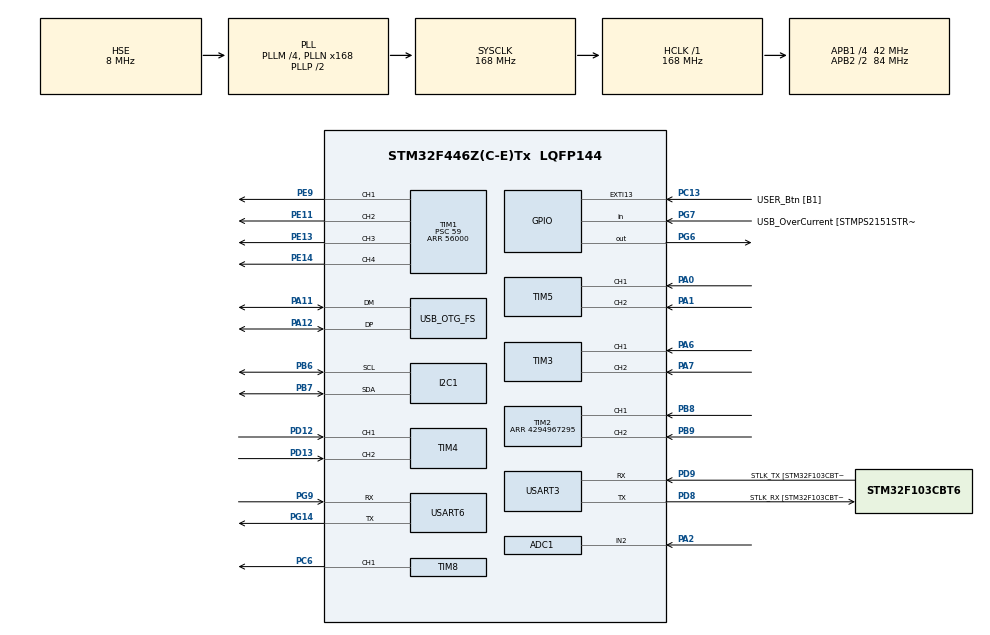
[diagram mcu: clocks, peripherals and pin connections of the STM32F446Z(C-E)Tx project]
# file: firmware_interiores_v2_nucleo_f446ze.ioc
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ADC1.Channel-5\#ChannelRegularConversion=ADC_CHANNEL_2
ADC1.NbrOfConversionFlag=1
ADC1.Rank-5\#ChannelRegularConversion=1
ADC1.SamplingTime-5\#ChannelRegularConversion=ADC_SAMPLETIME_3CYCLES
ADC1.master=1
Mcu.Family=STM32F4
Mcu.Name=STM32F446Z(C-E)Tx
Mcu.Package=LQFP144
NVIC.OTG_FS_IRQn=true\:0\:0\:false\:false\:true\:true\:true\:true
NVIC.PriorityGroup=NVIC_PRIORITYGROUP_4
NVIC.TIM2_IRQn=true\:0\:0\:false\:false\:true\:true\:true\:true
NVIC.TIM3_IRQn=true\:0\:0\:false\:false\:true\:true\:true\:true
NVIC.TIM4_IRQn=true\:0\:0\:false\:false\:true\:true\:true\:true
NVIC.TIM5_IRQn=true\:0\:0\:false\:false\:true\:true\:true\:true
NVIC.USART6_IRQn=true\:0\:0\:false\:false\:true\:true\:true\:true
PA0-WKUP.Signal=S_TIM5_CH1
PA1.Signal=S_TIM5_CH2
PA10.GPIO_Label=USB_ID
PA10.Signal=USB_OTG_FS_ID
PA11.Mode=Device_Only
PA11.Signal=USB_OTG_FS_DM
PA12.Mode=Device_Only
PA12.Signal=USB_OTG_FS_DP
PA13.GPIO_Label=TMS
PA13.Mode=Serial_Wire
PA13.Signal=SYS_JTMS-SWDIO
PA14.GPIO_Label=TCK
PA14.Mode=Serial_Wire
PA14.Signal=SYS_JTCK-SWCLK
PA2.Signal=ADCx_IN2
PA6.Signal=S_TIM3_CH1
PA7.Signal=S_TIM3_CH2
PA8.GPIO_Label=USB_SOF [TP1]
PA8.Signal=USB_OTG_FS_SOF
PA9.GPIO_Label=USB_VBUS
PA9.Signal=USB_OTG_FS_VBUS
PB0.Signal=S_TIM3_CH3
PB6.Mode=I2C
PB6.Signal=I2C1_SCL
PB7.Mode=I2C
PB7.Signal=I2C1_SDA
PB8.Signal=S_TIM2_CH1_ETR
PB9.Signal=S_TIM2_CH2
PC13.GPIO_Label=USER_Btn [B1]
PC13.Signal=GPXTI13
PC14-OSC32_IN.Signal=RCC_OSC32_IN
PC15-OSC32_OUT.Signal=RCC_OSC32_OUT
PC6.Signal=S_TIM8_CH1
PD12.Signal=S_TIM4_CH1
PD13.Signal=S_TIM4_CH2
PD8.GPIO_Label=STLK_RX [STM32F103CBT6_PA3]
PD8.Mode=Asynchronous
PD8.Signal=USART3_TX
PD9.GPIO_Label=STLK_TX [STM32F103CBT6_PA2]
PD9.Mode=Asynchronous
PD9.Signal=USART3_RX
PE11.Signal=S_TIM1_CH2
PE13.Signal=S_TIM1_CH3
PE14.Signal=S_TIM1_CH4
PE9.Signal=S_TIM1_CH1
PG14.Mode=Asynchronous
PG14.Signal=USART6_TX
PG6.Signal=GPIO_Output
PG7.GPIO_Label=USB_OverCurrent [STMPS2151STR_FAULT]
PG7.Signal=GPIO_Input
PG9.Mode=Asynchronous
PG9.Signal=USART6_RX
PH0-OSC_IN.Mode=HSE-External-Clock-Source
PH0-OSC_IN.Signal=RCC_OSC_IN
PH1-OSC_OUT.Mode=HSE-External-Clock-Source
PH1-OSC_OUT.Signal=RCC_OSC_OUT
ProjectManager.HeapSize=0x200
ProjectManager.StackSize=0x400
ProjectManager.TargetToolchain=STM32CubeIDE
RCC.48MHZClocksFreq_Value=24000000
RCC.AHBFreq_Value=168000000
RCC.APB1CLKDivider=RCC_HCLK_DIV4
RCC.APB1Freq_Value=42000000
RCC.APB1TimFreq_Value=84000000
RCC.APB2CLKDivider=RCC_HCLK_DIV2
RCC.APB2Freq_Value=84000000
RCC.APB2TimFreq_Value=168000000
RCC.CortexFreq_Value=168000000
RCC.HCLKFreq_Value=168000000
RCC.HSE_VALUE=8000000
RCC.HSI_VALUE=16000000
RCC.PLLM=4
RCC.PLLMUL=RCC_PLL_MUL9
RCC.PLLN=168
RCC.PLLQ=7
RCC.PLLSourceVirtual=RCC_PLLSOURCE_HSE
RCC.PRESCALERUSB=RCC_USBCLKSOURCE_PLL_DIV1_5
RCC.SYSCLKFreq_VALUE=168000000
RCC.SYSCLKSource=RCC_SYSCLKSOURCE_PLLCLK
RCC.SYSCLKSourceVirtual=RCC_SYSCLKSOURCE_PLLCLK
RCC.USBFreq_Value=48000000
RCC.VCOOutputFreq_Value=336000000
SH.ADCx_IN2.0=ADC1_IN2,IN2
SH.S_TIM1_CH1.0=TIM1_CH1,PWM Generation1 CH1
SH.S_TIM1_CH2.0=TIM1_CH2,PWM Generation2 CH2
SH.S_TIM1_CH3.0=TIM1_CH3,PWM Generation3 CH3
SH.S_TIM1_CH4.0=TIM1_CH4,PWM Generation4 CH4
SH.S_TIM2_CH1_ETR.0=TIM2_CH1,Encoder_Interface
SH.S_TIM2_CH2.0=TIM2_CH2,Encoder_Interface
SH.S_TIM3_CH1.0=TIM3_CH1,Encoder_Interface
SH.S_TIM3_CH2.0=TIM3_CH2,Encoder_Interface
SH.S_TIM3_CH3.0=TIM3_CH3
SH.S_TIM4_CH1.0=TIM4_CH1,Encoder_Interface
SH.S_TIM4_CH2.0=TIM4_CH2,Encoder_Interface
SH.S_TIM5_CH1.0=TIM5_CH1,Encoder_Interface
SH.S_TIM5_CH2.0=TIM5_CH2,Encoder_Interface
SH.S_TIM8_CH1.0=TIM8_CH1,PWM Generation1 CH1
TIM1.Channel-PWM\ Generation1\ CH1=TIM_CHANNEL_1
TIM1.Channel-PWM\ Generation2\ CH2=TIM_CHANNEL_2
TIM1.Channel-PWM\ Generation3\ CH3=TIM_CHANNEL_3
TIM1.Channel-PWM\ Generation4\ CH4=TIM_CHANNEL_4
TIM1.Period=56000
TIM1.Prescaler=59
TIM1.Pulse-PWM\ Generation2\ CH2=0
TIM1.Pulse-PWM\ Generation3\ CH3=0
TIM2.EncoderMode=TIM_ENCODERMODE_TI12
TIM2.Period=4294967295
TIM3.EncoderMode=TIM_ENCODERMODE_TI12
TIM3.IC1Polarity=TIM_ICPOLARITY_RISING
TIM3.IC2Polarity=TIM_ICPOLARITY_RISING
TIM4.EncoderMode=TIM_ENCODERMODE_TI12
TIM5.EncoderMode=TIM_ENCODERMODE_TI12
TIM8.Channel-PWM\ Generation1\ CH1=TIM_CHANNEL_1
USART3.VirtualMode=VM_ASYNC
USART6.VirtualMode=VM_ASYNC
USB_DEVICE.CLASS_NAME_FS=CDC
USB_DEVICE.PRODUCT_STRING_CDC_FS=STM32 Virtual DiegoPort
USB_DEVICE.VID-CDC_FS=1155
USB_DEVICE.VirtualMode-CDC_FS=Cdc
USB_DEVICE.VirtualModeFS=Cdc_FS
USB_OTG_FS.VirtualMode=Device_Only
VP_TIM1_VS_ClockSourceINT.Mode=Internal
VP_TIM8_VS_ClockSourceINT.Mode=Internal
VP_USB_DEVICE_VS_USB_DEVICE_CDC_FS.Mode=CDC_FS
board=NUCLEO-F446ZE

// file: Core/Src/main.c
/* USER CODE BEGIN Header */
/**
  ******************************************************************************
  * @file           : main.c
  * @brief          : Main program body
  ******************************************************************************
  * @attention
  *
  * Copyright (c) 2022 STMicroelectronics.
  * All rights reserved.
  *
  * This software is licensed under terms that can be found in the LICENSE file
  * in the root directory of this software component.
  * If no LICENSE file comes with this software, it is provided AS-IS.
  *
  ******************************************************************************
  */
/* USER CODE END Header */
#include "main.h"
#include "usb_device.h"

/* USER CODE BEGIN Includes */
#include "usbd_cdc_if.h"
#include "string.h"
#include "math.h"
#include "stdlib.h"
#include "MPU9250.h"

/* USER CODE END Includes */

 ADC_HandleTypeDef hadc1;

I2C_HandleTypeDef hi2c1;

TIM_HandleTypeDef htim1;
TIM_HandleTypeDef htim2;
TIM_HandleTypeDef htim3;
TIM_HandleTypeDef htim4;
TIM_HandleTypeDef htim5;
TIM_HandleTypeDef htim8;

UART_HandleTypeDef huart3;
UART_HandleTypeDef huart6;

/* USER CODE BEGIN PV */
int cmd_pulse=4256;
int forw=1;
uint16_t raw;
int skip=200;
int cmd=0;
int cmd_command=0;
int forw_rot=0;
int back_rot=0;
int stop_rot=0;

char *data="x5.12345123451234512345,y1.12345123451234512345,v1.12345123451234512345,w1.12345123451234512345";
float x1=5.12345;
float x2=3.46789;
float f = 2.45;
char a[sizeof(float)];

char *s;
float info[3]; // floats with info
uint8_t data1[12];
uint8_t *array;
char out_s[2];
char sz1[64] = {' '} ;
char szaux[64];
char fill_res[20];
int count_tim1=0;

char mp[20];

char volt_array[16];
float Vadc = 0;

uint8_t buffer_txt[80];
uint8_t buffer[64];

uint8_t bufferaux_v[64];
uint8_t bufferaux_w[64];
float v_in=0;
float w_in=0;
char test1;
int intposv=0;
int intposw=0;
//char *data="HolaDiego";

//Motor encoder----------------------------
//float enc_res=979.0;
float enc_res=1632.0;
float sampling_time=20.0; //20ms
float tyre_deflection=1.0;

//int16_t enc_FR=0;
//int16_t enc_FL=0;
//int16_t enc_RL=0;
//int16_t enc_RR=0;

int16_t counter_M1=0;
int16_t counter_M2=0;
int16_t counter_M3=0;
int16_t counter_M4=0;

int16_t M1=0;
int16_t M2=0;
int16_t M3=0;
int16_t M4=0;

//------------------------------------

//setSpeed fun-------------------------
float lin=0;
float ang=0;
float L_wheel_lin_speed=0;
float R_wheel_lin_speed=0;
float L_wheel_angular_velocity=0;
float R_wheel_angular_velocity=0;
float L_enc_speed=0;
float R_enc_speed=0;

float rot_radio=0;
float new_L_enc_speed=0;
float new_R_enc_speed=0;
//------------------------------------

//updateOdometry fun-------------------------
float wheel_L_ang_vel=0;
float wheel_R_ang_vel=0;
float wheel_L_ang_pos=0;
float wheel_R_ang_pos=0;

float wheel_FL_ang_pos =0;
float wheel_FR_ang_pos =0;
float wheel_RL_ang_pos =0;
float wheel_RR_ang_pos =0;

float enc_L=0;
float enc_R=0;

float wheel_radius=0.05; //50 millimeters
float robot_width=0.21; //distance between robot left and right wheels, 21 centimeters
float diameter_mod=1.0; //DIAMETER_MODIFICATOR

float robot_angular_vel=0;
float robot_angular_pos=0;
float robot_x_vel=0;
float robot_y_vel=0;
float robot_x_pos=0;
float robot_y_pos=0;
//------------------------------------------

//setPower fun----------------------------------
float max_speed = 7996.8; //max pulses per second
float min_speed = -7996.8;//min pulses per second
float min_pwm = 2767;//2800;//3136.0;
float max_pwm = 5533;//5600;//5376.0;
float M1_pwm = 0;
float M2_pwm = 0;
float M3_pwm = 0;
float M4_pwm = 0;
//------------------------------------------

unsigned char *pFloat;
unsigned char* rx_ptr, * tx_ptr; //Punteros auxiliares UART
unsigned char tx_buf[20], rx_buf[12]; //Buffers UART
float v_in, w_in, cam_in; //Valores deseados entrantes
float px_cur, py_cur, v_cur, w_cur, cam_cur; //Valores actuales salientes

#define ACC_FULL_SCALE_2_G       0x00
#define ACC_FULL_SCALE_4_G       0x08
#define ACC_FULL_SCALE_8_G       0x10
#define ACC_FULL_SCALE_16_G      0x18
float acc_x,acc_y,acc_z;

#define GYRO_FULL_SCALE_250_DPS  0x00
#define GYRO_FULL_SCALE_500_DPS  0x08
#define GYRO_FULL_SCALE_1000_DPS 0x10
#define GYRO_FULL_SCALE_2000_DPS 0x18
float gyro_x,gyro_y,gyro_z;

#define MAG_MODE_POWERDOWN        0x0
#define MAG_MODE_SINGLE           0x1
#define MAG_MODE_CONTINUOUS_8HZ   0x2
#define MAG_MODE_EXTERNAL         0x4
#define MAG_MODE_CONTINUOUS_100HZ 0x6
#define MAG_MODE_SELFTEST         0x8
#define MAG_MODE_FUSEROM          0xF
#define AK8963_ADDRESS  0x0C
#define AK8963_RA_HXL   0x03
#define AK8963_RA_CNTL1 0x0A
#define AK8963_RA_ASAX  0x10
float mag_x,mag_y,mag_z,magHoriz;

/* USER CODE END PV */

void SystemClock_Config(void);
static void MX_GPIO_Init(void);
static void MX_USART3_UART_Init(void);
static void MX_TIM2_Init(void);
static void MX_TIM3_Init(void);
static void MX_TIM4_Init(void);
static void MX_TIM5_Init(void);
static void MX_USART6_UART_Init(void);
static void MX_ADC1_Init(void);
static void MX_TIM1_Init(void);
static void MX_I2C1_Init(void);
static void MX_TIM8_Init(void);

/* USER CODE BEGIN 0 */
/*char readBuf[1];
void HAL_UART_RxCpltCallback(UART_HandleTypeDef *UartHandle) {
  Se recibe el caracter y se pide el siguiente
 HAL_UART_Receive_IT(&huart6, (uint8_t*)readBuf, 1);
}*/

void HAL_TIM_IC_CaptureCallback(TIM_HandleTypeDef *htim){
	if(htim->Instance==TIM2){
			//count_tim1+=1;
			counter_M1=(int16_t)__HAL_TIM_GET_COUNTER(htim);//Encoder M1

		}
	if(htim->Instance==TIM3){
			counter_M2=(int16_t)__HAL_TIM_GET_COUNTER(htim);//Encoder M2
		}
	if(htim->Instance==TIM4){
			counter_M3=(int16_t)__HAL_TIM_GET_COUNTER(htim);//Encoder M3
		}
	if(htim->Instance==TIM5){
			counter_M4=(int16_t)__HAL_TIM_GET_COUNTER(htim);//Encoder M4
		}

}

/* USER CODE END 0 */

int main(void)
{

  /* MCU Configuration--------------------------------------------------------*/

  /* Reset of all peripherals, Initializes the Flash interface and the Systick. */
  HAL_Init();

  /* Configure the system clock */
  SystemClock_Config();

  /* Initialize all configured peripherals */
  MX_GPIO_Init();
  MX_USART3_UART_Init();
  MX_TIM2_Init();
  MX_TIM3_Init();
  MX_TIM4_Init();
  MX_TIM5_Init();
  MX_USART6_UART_Init();
  MX_ADC1_Init();
  MX_USB_DEVICE_Init();
  MX_TIM1_Init();
  MX_I2C1_Init();
  MX_TIM8_Init();
  /* USER CODE BEGIN 2 */
  HAL_TIM_PWM_Start(&htim1, TIM_CHANNEL_1);
  HAL_TIM_PWM_Start(&htim1, TIM_CHANNEL_2);
  HAL_TIM_PWM_Start(&htim1, TIM_CHANNEL_3);
  HAL_TIM_PWM_Start(&htim1, TIM_CHANNEL_4);
  HAL_TIM_Encoder_Start_IT(&htim2, TIM_CHANNEL_ALL);
  HAL_TIM_Encoder_Start_IT(&htim3, TIM_CHANNEL_ALL);
  HAL_TIM_Encoder_Start_IT(&htim4, TIM_CHANNEL_ALL);
  HAL_TIM_Encoder_Start_IT(&htim5, TIM_CHANNEL_ALL);

  MPU9250_beginAccel(ACC_FULL_SCALE_16_G);

  MPU9250_beginGyro(GYRO_FULL_SCALE_2000_DPS);

  MPU9250_beginMag(MAG_MODE_CONTINUOUS_100HZ);

  //HAL_ADCEx_InjectedStart(&hadc1);
  /* USER CODE END 2 */

  /* Infinite loop */
  /* USER CODE BEGIN WHILE */
  //HAL_UART_Receive_IT(&huart6, (uint8_t*)readBuf, 1);

  while (1)
  {

    /* USER CODE END WHILE */

    /* USER CODE BEGIN 3 */

	  //counter=__HAL_TIM_GET_COUNTER(&htim2);
	  //counter_M1=__HAL_TIM_GET_COUNTER(&htim2);
	  //counter_M2=__HAL_TIM_GET_COUNTER(&htim2);
	  //counter_M3=__HAL_TIM_GET_COUNTER(&htim2);
	  //counter_M4=__HAL_TIM_GET_COUNTER(&htim2);

	  //counter_M1=(int16_t)__HAL_TIM_GET_COUNTER(&htim2);
	  //counter_M2=(int16_t)__HAL_TIM_GET_COUNTER(&htim3);
	  //counter_M3=(int16_t)__HAL_TIM_GET_COUNTER(&htim4);
	  //counter_M4=(int16_t)__HAL_TIM_GET_COUNTER(&htim5);

	  /*for(int i=0;i<sizeof(buffer);i++)
	  	  	  {
	  		  	  buffer[0]=(int)'v';
	  		  	  buffer[1]=(int)'1';
	  		  	  buffer[2]=(int)'.';
	  		  	  buffer[3]=(int)'2';
	  		  	  buffer[4]=(int)'w';
	  		  	  buffer[5]=(int)'4';

	  		  	  test1=buffer[i];
	  		  	  if(strcmp(&test1,"v")==0) intposv=i;
	  	  		  if(strcmp(&test1, "w")==0) intposw=i;
	  	  	  }

	  memcpy(&bufferaux,&buffer[intposv+1],intposw-intposv-1); v_in=(float)atof(bufferaux);
	  memcpy(&bufferaux,&buffer[intposw+1],sizeof(buffer)); w_in=(float)atof(bufferaux);*/

	  //*buffertest=(uint8_t)x1;

	  info[0]=1.14;
	  info[1]=2.14;
	  info[2]=3.14;

	  //memcpy(a, &f, sizeof(float));
	  //s = (char *) &f;

	  //memcpy(data1,&info,sizeof(info));

	  //out_s=(char)x1;

	  //sprintf(buffertest, &x1);

	  //float px=1.1413121212121212;
	  //float py=2.6414121212121212;
	  //float th=3.1415121212121212;
	  //float vx=4.5416121212121212;
	  //float vy=5.8417121212121212;
	  //float wz=6.2418121212121212;
	  //int txt_resolution=5;
	  //strcpy(buffer_txt,build_buffer(px, py, th, vx, vy, wz,txt_resolution));

	  //strcat(buffer_txt,"y");
	  //strcat(buffer_txt,sz);

	  /*px_cur=3.1415;
	  py_cur=2.18;
	  v_cur=7.10;
	  w_cur=1.54;
	  cam_cur=3.17;

	  tx_ptr = (unsigned char*)&px_cur; //Posicion x (actual)
	  for (int i = 0; i < 4; i++) tx_buf[i] = *(tx_ptr + i);
	  tx_ptr = (unsigned char*)&py_cur; //Posicion y (actual)
	  for (int i = 4; i < 8; i++) tx_buf[i] = *(tx_ptr + i);
	  tx_ptr = (unsigned char*)&v_cur; //Velocidad x (actual)
	  for (int i = 8; i < 12; i++) tx_buf[i] = *(tx_ptr + i);
	  tx_ptr = (unsigned char*)&w_cur; //Rotacion z (actual)
	  for (int i = 12; i < 16; i++) tx_buf[i] = *(tx_ptr + i);
	  tx_ptr = (unsigned char*)&cam_cur; //Angulo camara (actual)
	  for (int i = 16; i < 20; i++) tx_buf[i] = *(tx_ptr + i);
	  CDC_Transmit_FS((uint8_t *)tx_buf, sizeof(tx_buf));*/

	  //ftoa(n, res, 4);
	  //sprintf(n)

	  //strcpy(szaux,float_to_char(0.000015, 5));

	  //__HAL_TIM_SET_COMPARE(&htim1, TIM_CHANNEL_1, 4200);
	  //__HAL_TIM_SET_COMPARE(&htim1, TIM_CHANNEL_2, 4200);
	  //__HAL_TIM_SET_COMPARE(&htim1, TIM_CHANNEL_3, 4200);
	  //__HAL_TIM_SET_COMPARE(&htim1, TIM_CHANNEL_4, 4200);

	  //count_tim1=__HAL_TIM_GET_COUNTER(&htim1);

	  //setPower(4800, 4800, 4800, 4800);
	  //HAL_Delay(10);

	  //M1=(int16_t)__HAL_TIM_GET_COUNTER(&htim2);//Encoder M1
	  //M2=(int16_t)__HAL_TIM_GET_COUNTER(&htim3);//Encoder M2
	  //M3=(int16_t)__HAL_TIM_GET_COUNTER(&htim4);//Encoder M3
	  //M4=(int16_t)__HAL_TIM_GET_COUNTER(&htim5);//Encoder M4

	  MPU9250_accelUpdate();
	  MPU9250_gyroUpdate();
	  MPU9250_magUpdate();

	  acc_x=MPU9250_accelX();
	  acc_y=MPU9250_accelY();
	  acc_z=MPU9250_accelZ();

	  gyro_x=MPU9250_gyroX();
	  gyro_y=MPU9250_gyroY();
	  gyro_z=MPU9250_gyroZ();

	  mag_x=MPU9250_magX();
	  mag_y=MPU9250_magY();
	  mag_z=MPU9250_magZ();
	  magHoriz=MPU9250_magHorizDirection();

	  //CDC_Transmit_FS((uint8_t *) data, strlen (data));
	  //HAL_Delay(10);

  	  //__HAL_TIM_SET_COMPARE(&htim1, TIM_CHANNEL_1, cmd_pulse);
  	  //__HAL_TIM_SET_COMPARE(&htim1, TIM_CHANNEL_2, cmd_pulse);
  	  //__HAL_TIM_SET_COMPARE(&htim1, TIM_CHANNEL_3, cmd_pulse);
  	  //__HAL_TIM_SET_COMPARE(&htim1, TIM_CHANNEL_4, cmd_pulse);
  }
  /* USER CODE END 3 */
}

void SystemClock_Config(void)
{
  RCC_OscInitTypeDef RCC_OscInitStruct = {0};
  RCC_ClkInitTypeDef RCC_ClkInitStruct = {0};

  /** Configure the main internal regulator output voltage
  */
  __HAL_RCC_PWR_CLK_ENABLE();
  __HAL_PWR_VOLTAGESCALING_CONFIG(PWR_REGULATOR_VOLTAGE_SCALE1);

  /** Initializes the RCC Oscillators according to the specified parameters
  * in the RCC_OscInitTypeDef structure.
  */
  RCC_OscInitStruct.OscillatorType = RCC_OSCILLATORTYPE_HSE;
  RCC_OscInitStruct.HSEState = RCC_HSE_BYPASS;
  RCC_OscInitStruct.PLL.PLLState = RCC_PLL_ON;
  RCC_OscInitStruct.PLL.PLLSource = RCC_PLLSOURCE_HSE;
  RCC_OscInitStruct.PLL.PLLM = 4;
  RCC_OscInitStruct.PLL.PLLN = 168;
  RCC_OscInitStruct.PLL.PLLP = RCC_PLLP_DIV2;
  RCC_OscInitStruct.PLL.PLLQ = 7;
  RCC_OscInitStruct.PLL.PLLR = 2;
  if (HAL_RCC_OscConfig(&RCC_OscInitStruct) != HAL_OK)
  {
    Error_Handler();
  }

  /** Initializes the CPU, AHB and APB buses clocks
  */
  RCC_ClkInitStruct.ClockType = RCC_CLOCKTYPE_HCLK|RCC_CLOCKTYPE_SYSCLK
                              |RCC_CLOCKTYPE_PCLK1|RCC_CLOCKTYPE_PCLK2;
  RCC_ClkInitStruct.SYSCLKSource = RCC_SYSCLKSOURCE_PLLCLK;
  RCC_ClkInitStruct.AHBCLKDivider = RCC_SYSCLK_DIV1;
  RCC_ClkInitStruct.APB1CLKDivider = RCC_HCLK_DIV4;
  RCC_ClkInitStruct.APB2CLKDivider = RCC_HCLK_DIV2;

  if (HAL_RCC_ClockConfig(&RCC_ClkInitStruct, FLASH_LATENCY_5) != HAL_OK)
  {
    Error_Handler();
  }
}

static void MX_ADC1_Init(void)
{

  ADC_ChannelConfTypeDef sConfig = {0};

  /** Configure the global features of the ADC (Clock, Resolution, Data Alignment and number of conversion)
  */
  hadc1.Instance = ADC1;
  hadc1.Init.ClockPrescaler = ADC_CLOCK_SYNC_PCLK_DIV4;
  hadc1.Init.Resolution = ADC_RESOLUTION_12B;
  hadc1.Init.ScanConvMode = DISABLE;
  hadc1.Init.ContinuousConvMode = DISABLE;
  hadc1.Init.DiscontinuousConvMode = DISABLE;
  hadc1.Init.ExternalTrigConvEdge = ADC_EXTERNALTRIGCONVEDGE_NONE;
  hadc1.Init.ExternalTrigConv = ADC_SOFTWARE_START;
  hadc1.Init.DataAlign = ADC_DATAALIGN_RIGHT;
  hadc1.Init.NbrOfConversion = 1;
  hadc1.Init.DMAContinuousRequests = DISABLE;
  hadc1.Init.EOCSelection = ADC_EOC_SINGLE_CONV;
  if (HAL_ADC_Init(&hadc1) != HAL_OK)
  {
    Error_Handler();
  }

  /** Configure for the selected ADC regular channel its corresponding rank in the sequencer and its sample time.
  */
  sConfig.Channel = ADC_CHANNEL_2;
  sConfig.Rank = 1;
  sConfig.SamplingTime = ADC_SAMPLETIME_3CYCLES;
  if (HAL_ADC_ConfigChannel(&hadc1, &sConfig) != HAL_OK)
  {
    Error_Handler();
  }

}

static void MX_I2C1_Init(void)
{

  hi2c1.Instance = I2C1;
  hi2c1.Init.ClockSpeed = 100000;
  hi2c1.Init.DutyCycle = I2C_DUTYCYCLE_2;
  hi2c1.Init.OwnAddress1 = 0;
  hi2c1.Init.AddressingMode = I2C_ADDRESSINGMODE_7BIT;
  hi2c1.Init.DualAddressMode = I2C_DUALADDRESS_DISABLE;
  hi2c1.Init.OwnAddress2 = 0;
  hi2c1.Init.GeneralCallMode = I2C_GENERALCALL_DISABLE;
  hi2c1.Init.NoStretchMode = I2C_NOSTRETCH_DISABLE;
  if (HAL_I2C_Init(&hi2c1) != HAL_OK)
  {
    Error_Handler();
  }

}

static void MX_TIM1_Init(void)
{

  TIM_ClockConfigTypeDef sClockSourceConfig = {0};
  TIM_MasterConfigTypeDef sMasterConfig = {0};
  TIM_OC_InitTypeDef sConfigOC = {0};
  TIM_BreakDeadTimeConfigTypeDef sBreakDeadTimeConfig = {0};

  htim1.Instance = TIM1;
  htim1.Init.Prescaler = 59;
  htim1.Init.CounterMode = TIM_COUNTERMODE_UP;
  htim1.Init.Period = 56000;
  htim1.Init.ClockDivision = TIM_CLOCKDIVISION_DIV1;
  htim1.Init.RepetitionCounter = 0;
  htim1.Init.AutoReloadPreload = TIM_AUTORELOAD_PRELOAD_DISABLE;
  if (HAL_TIM_Base_Init(&htim1) != HAL_OK)
  {
    Error_Handler();
  }
  sClockSourceConfig.ClockSource = TIM_CLOCKSOURCE_INTERNAL;
  if (HAL_TIM_ConfigClockSource(&htim1, &sClockSourceConfig) != HAL_OK)
  {
    Error_Handler();
  }
  if (HAL_TIM_PWM_Init(&htim1) != HAL_OK)
  {
    Error_Handler();
  }
  sMasterConfig.MasterOutputTrigger = TIM_TRGO_RESET;
  sMasterConfig.MasterSlaveMode = TIM_MASTERSLAVEMODE_DISABLE;
  if (HAL_TIMEx_MasterConfigSynchronization(&htim1, &sMasterConfig) != HAL_OK)
  {
    Error_Handler();
  }
  sConfigOC.OCMode = TIM_OCMODE_PWM1;
  sConfigOC.Pulse = 0;
  sConfigOC.OCPolarity = TIM_OCPOLARITY_HIGH;
  sConfigOC.OCNPolarity = TIM_OCNPOLARITY_HIGH;
  sConfigOC.OCFastMode = TIM_OCFAST_DISABLE;
  sConfigOC.OCIdleState = TIM_OCIDLESTATE_RESET;
  sConfigOC.OCNIdleState = TIM_OCNIDLESTATE_RESET;
  if (HAL_TIM_PWM_ConfigChannel(&htim1, &sConfigOC, TIM_CHANNEL_1) != HAL_OK)
  {
    Error_Handler();
  }
  if (HAL_TIM_PWM_ConfigChannel(&htim1, &sConfigOC, TIM_CHANNEL_2) != HAL_OK)
  {
    Error_Handler();
  }
  if (HAL_TIM_PWM_ConfigChannel(&htim1, &sConfigOC, TIM_CHANNEL_3) != HAL_OK)
  {
    Error_Handler();
  }
  if (HAL_TIM_PWM_ConfigChannel(&htim1, &sConfigOC, TIM_CHANNEL_4) != HAL_OK)
  {
    Error_Handler();
  }
  sBreakDeadTimeConfig.OffStateRunMode = TIM_OSSR_DISABLE;
  sBreakDeadTimeConfig.OffStateIDLEMode = TIM_OSSI_DISABLE;
  sBreakDeadTimeConfig.LockLevel = TIM_LOCKLEVEL_OFF;
  sBreakDeadTimeConfig.DeadTime = 0;
  sBreakDeadTimeConfig.BreakState = TIM_BREAK_DISABLE;
  sBreakDeadTimeConfig.BreakPolarity = TIM_BREAKPOLARITY_HIGH;
  sBreakDeadTimeConfig.AutomaticOutput = TIM_AUTOMATICOUTPUT_DISABLE;
  if (HAL_TIMEx_ConfigBreakDeadTime(&htim1, &sBreakDeadTimeConfig) != HAL_OK)
  {
    Error_Handler();
  }
  HAL_TIM_MspPostInit(&htim1);

}

static void MX_TIM2_Init(void)
{

  TIM_Encoder_InitTypeDef sConfig = {0};
  TIM_MasterConfigTypeDef sMasterConfig = {0};

  htim2.Instance = TIM2;
  htim2.Init.Prescaler = 0;
  htim2.Init.CounterMode = TIM_COUNTERMODE_UP;
  htim2.Init.Period = 4294967295;
  htim2.Init.ClockDivision = TIM_CLOCKDIVISION_DIV1;
  htim2.Init.AutoReloadPreload = TIM_AUTORELOAD_PRELOAD_DISABLE;
  sConfig.EncoderMode = TIM_ENCODERMODE_TI12;
  sConfig.IC1Polarity = TIM_ICPOLARITY_RISING;
  sConfig.IC1Selection = TIM_ICSELECTION_DIRECTTI;
  sConfig.IC1Prescaler = TIM_ICPSC_DIV1;
  sConfig.IC1Filter = 0;
  sConfig.IC2Polarity = TIM_ICPOLARITY_RISING;
  sConfig.IC2Selection = TIM_ICSELECTION_DIRECTTI;
  sConfig.IC2Prescaler = TIM_ICPSC_DIV1;
  sConfig.IC2Filter = 0;
  if (HAL_TIM_Encoder_Init(&htim2, &sConfig) != HAL_OK)
  {
    Error_Handler();
  }
  sMasterConfig.MasterOutputTrigger = TIM_TRGO_RESET;
  sMasterConfig.MasterSlaveMode = TIM_MASTERSLAVEMODE_DISABLE;
  if (HAL_TIMEx_MasterConfigSynchronization(&htim2, &sMasterConfig) != HAL_OK)
  {
    Error_Handler();
  }

}

static void MX_TIM3_Init(void)
{

  TIM_Encoder_InitTypeDef sConfig = {0};
  TIM_MasterConfigTypeDef sMasterConfig = {0};

  htim3.Instance = TIM3;
  htim3.Init.Prescaler = 0;
  htim3.Init.CounterMode = TIM_COUNTERMODE_UP;
  htim3.Init.Period = 65535;
  htim3.Init.ClockDivision = TIM_CLOCKDIVISION_DIV1;
  htim3.Init.AutoReloadPreload = TIM_AUTORELOAD_PRELOAD_DISABLE;
  sConfig.EncoderMode = TIM_ENCODERMODE_TI12;
  sConfig.IC1Polarity = TIM_ICPOLARITY_RISING;
  sConfig.IC1Selection = TIM_ICSELECTION_DIRECTTI;
  sConfig.IC1Prescaler = TIM_ICPSC_DIV1;
  sConfig.IC1Filter = 0;
  sConfig.IC2Polarity = TIM_ICPOLARITY_RISING;
  sConfig.IC2Selection = TIM_ICSELECTION_DIRECTTI;
  sConfig.IC2Prescaler = TIM_ICPSC_DIV1;
  sConfig.IC2Filter = 0;
  if (HAL_TIM_Encoder_Init(&htim3, &sConfig) != HAL_OK)
  {
    Error_Handler();
  }
  sMasterConfig.MasterOutputTrigger = TIM_TRGO_RESET;
  sMasterConfig.MasterSlaveMode = TIM_MASTERSLAVEMODE_DISABLE;
  if (HAL_TIMEx_MasterConfigSynchronization(&htim3, &sMasterConfig) != HAL_OK)
  {
    Error_Handler();
  }

}

static void MX_TIM4_Init(void)
{

  TIM_Encoder_InitTypeDef sConfig = {0};
  TIM_MasterConfigTypeDef sMasterConfig = {0};

  htim4.Instance = TIM4;
  htim4.Init.Prescaler = 0;
  htim4.Init.CounterMode = TIM_COUNTERMODE_UP;
  htim4.Init.Period = 65535;
  htim4.Init.ClockDivision = TIM_CLOCKDIVISION_DIV1;
  htim4.Init.AutoReloadPreload = TIM_AUTORELOAD_PRELOAD_DISABLE;
  sConfig.EncoderMode = TIM_ENCODERMODE_TI12;
  sConfig.IC1Polarity = TIM_ICPOLARITY_RISING;
  sConfig.IC1Selection = TIM_ICSELECTION_DIRECTTI;
  sConfig.IC1Prescaler = TIM_ICPSC_DIV1;
  sConfig.IC1Filter = 0;
  sConfig.IC2Polarity = TIM_ICPOLARITY_RISING;
  sConfig.IC2Selection = TIM_ICSELECTION_DIRECTTI;
  sConfig.IC2Prescaler = TIM_ICPSC_DIV1;
  sConfig.IC2Filter = 0;
  if (HAL_TIM_Encoder_Init(&htim4, &sConfig) != HAL_OK)
  {
    Error_Handler();
  }
  sMasterConfig.MasterOutputTrigger = TIM_TRGO_RESET;
  sMasterConfig.MasterSlaveMode = TIM_MASTERSLAVEMODE_DISABLE;
  if (HAL_TIMEx_MasterConfigSynchronization(&htim4, &sMasterConfig) != HAL_OK)
  {
    Error_Handler();
  }

}

static void MX_TIM5_Init(void)
{

  TIM_Encoder_InitTypeDef sConfig = {0};
  TIM_MasterConfigTypeDef sMasterConfig = {0};

  htim5.Instance = TIM5;
  htim5.Init.Prescaler = 0;
  htim5.Init.CounterMode = TIM_COUNTERMODE_UP;
  htim5.Init.Period = 4294967295;
  htim5.Init.ClockDivision = TIM_CLOCKDIVISION_DIV1;
  htim5.Init.AutoReloadPreload = TIM_AUTORELOAD_PRELOAD_DISABLE;
  sConfig.EncoderMode = TIM_ENCODERMODE_TI12;
  sConfig.IC1Polarity = TIM_ICPOLARITY_RISING;
  sConfig.IC1Selection = TIM_ICSELECTION_DIRECTTI;
  sConfig.IC1Prescaler = TIM_ICPSC_DIV1;
  sConfig.IC1Filter = 0;
  sConfig.IC2Polarity = TIM_ICPOLARITY_RISING;
  sConfig.IC2Selection = TIM_ICSELECTION_DIRECTTI;
  sConfig.IC2Prescaler = TIM_ICPSC_DIV1;
  sConfig.IC2Filter = 0;
  if (HAL_TIM_Encoder_Init(&htim5, &sConfig) != HAL_OK)
  {
    Error_Handler();
  }
  sMasterConfig.MasterOutputTrigger = TIM_TRGO_RESET;
  sMasterConfig.MasterSlaveMode = TIM_MASTERSLAVEMODE_DISABLE;
  if (HAL_TIMEx_MasterConfigSynchronization(&htim5, &sMasterConfig) != HAL_OK)
  {
    Error_Handler();
  }

}

static void MX_TIM8_Init(void)
{

  TIM_ClockConfigTypeDef sClockSourceConfig = {0};
  TIM_MasterConfigTypeDef sMasterConfig = {0};
  TIM_OC_InitTypeDef sConfigOC = {0};
  TIM_BreakDeadTimeConfigTypeDef sBreakDeadTimeConfig = {0};

  htim8.Instance = TIM8;
  htim8.Init.Prescaler = 0;
  htim8.Init.CounterMode = TIM_COUNTERMODE_UP;
  htim8.Init.Period = 65535;
  htim8.Init.ClockDivision = TIM_CLOCKDIVISION_DIV1;
  htim8.Init.RepetitionCounter = 0;
  htim8.Init.AutoReloadPreload = TIM_AUTORELOAD_PRELOAD_DISABLE;
  if (HAL_TIM_Base_Init(&htim8) != HAL_OK)
  {
    Error_Handler();
  }
  sClockSourceConfig.ClockSource = TIM_CLOCKSOURCE_INTERNAL;
  if (HAL_TIM_ConfigClockSource(&htim8, &sClockSourceConfig) != HAL_OK)
  {
    Error_Handler();
  }
  if (HAL_TIM_PWM_Init(&htim8) != HAL_OK)
  {
    Error_Handler();
  }
  sMasterConfig.MasterOutputTrigger = TIM_TRGO_RESET;
  sMasterConfig.MasterSlaveMode = TIM_MASTERSLAVEMODE_DISABLE;
  if (HAL_TIMEx_MasterConfigSynchronization(&htim8, &sMasterConfig) != HAL_OK)
  {
    Error_Handler();
  }
  sConfigOC.OCMode = TIM_OCMODE_PWM1;
  sConfigOC.Pulse = 0;
  sConfigOC.OCPolarity = TIM_OCPOLARITY_HIGH;
  sConfigOC.OCNPolarity = TIM_OCNPOLARITY_HIGH;
  sConfigOC.OCFastMode = TIM_OCFAST_DISABLE;
  sConfigOC.OCIdleState = TIM_OCIDLESTATE_RESET;
  sConfigOC.OCNIdleState = TIM_OCNIDLESTATE_RESET;
  if (HAL_TIM_PWM_ConfigChannel(&htim8, &sConfigOC, TIM_CHANNEL_1) != HAL_OK)
  {
    Error_Handler();
  }
  sBreakDeadTimeConfig.OffStateRunMode = TIM_OSSR_DISABLE;
  sBreakDeadTimeConfig.OffStateIDLEMode = TIM_OSSI_DISABLE;
  sBreakDeadTimeConfig.LockLevel = TIM_LOCKLEVEL_OFF;
  sBreakDeadTimeConfig.DeadTime = 0;
  sBreakDeadTimeConfig.BreakState = TIM_BREAK_DISABLE;
  sBreakDeadTimeConfig.BreakPolarity = TIM_BREAKPOLARITY_HIGH;
  sBreakDeadTimeConfig.AutomaticOutput = TIM_AUTOMATICOUTPUT_DISABLE;
  if (HAL_TIMEx_ConfigBreakDeadTime(&htim8, &sBreakDeadTimeConfig) != HAL_OK)
  {
    Error_Handler();
  }
  HAL_TIM_MspPostInit(&htim8);

}

static void MX_USART3_UART_Init(void)
{

  huart3.Instance = USART3;
  huart3.Init.BaudRate = 115200;
  huart3.Init.WordLength = UART_WORDLENGTH_8B;
  huart3.Init.StopBits = UART_STOPBITS_1;
  huart3.Init.Parity = UART_PARITY_NONE;
  huart3.Init.Mode = UART_MODE_TX_RX;
  huart3.Init.HwFlowCtl = UART_HWCONTROL_NONE;
  huart3.Init.OverSampling = UART_OVERSAMPLING_16;
  if (HAL_UART_Init(&huart3) != HAL_OK)
  {
    Error_Handler();
  }

}

static void MX_USART6_UART_Init(void)
{

  huart6.Instance = USART6;
  huart6.Init.BaudRate = 115200;
  huart6.Init.WordLength = UART_WORDLENGTH_8B;
  huart6.Init.StopBits = UART_STOPBITS_1;
  huart6.Init.Parity = UART_PARITY_NONE;
  huart6.Init.Mode = UART_MODE_TX_RX;
  huart6.Init.HwFlowCtl = UART_HWCONTROL_NONE;
  huart6.Init.OverSampling = UART_OVERSAMPLING_16;
  if (HAL_UART_Init(&huart6) != HAL_OK)
  {
    Error_Handler();
  }

}

static void MX_GPIO_Init(void)
{
  GPIO_InitTypeDef GPIO_InitStruct = {0};

  /* GPIO Ports Clock Enable */
  __HAL_RCC_GPIOC_CLK_ENABLE();
  __HAL_RCC_GPIOH_CLK_ENABLE();
  __HAL_RCC_GPIOA_CLK_ENABLE();
  __HAL_RCC_GPIOB_CLK_ENABLE();
  __HAL_RCC_GPIOE_CLK_ENABLE();
  __HAL_RCC_GPIOD_CLK_ENABLE();
  __HAL_RCC_GPIOG_CLK_ENABLE();

  /*Configure GPIO pin Output Level */
  HAL_GPIO_WritePin(GPIOG, GPIO_PIN_6, GPIO_PIN_RESET);

  /*Configure GPIO pin : USER_Btn_Pin */
  GPIO_InitStruct.Pin = USER_Btn_Pin;
  GPIO_InitStruct.Mode = GPIO_MODE_IT_RISING;
  GPIO_InitStruct.Pull = GPIO_NOPULL;
  HAL_GPIO_Init(USER_Btn_GPIO_Port, &GPIO_InitStruct);

  /*Configure GPIO pin : PG6 */
  GPIO_InitStruct.Pin = GPIO_PIN_6;
  GPIO_InitStruct.Mode = GPIO_MODE_OUTPUT_PP;
  GPIO_InitStruct.Pull = GPIO_NOPULL;
  GPIO_InitStruct.Speed = GPIO_SPEED_FREQ_LOW;
  HAL_GPIO_Init(GPIOG, &GPIO_InitStruct);

  /*Configure GPIO pin : USB_OverCurrent_Pin */
  GPIO_InitStruct.Pin = USB_OverCurrent_Pin;
  GPIO_InitStruct.Mode = GPIO_MODE_INPUT;
  GPIO_InitStruct.Pull = GPIO_NOPULL;
  HAL_GPIO_Init(USB_OverCurrent_GPIO_Port, &GPIO_InitStruct);

}

/* USER CODE BEGIN 4 */

char* build_buffer(float px,float py,float th ,float vx,float vy, float wz){

	static char sz_buff[80];
	memset(sz_buff,'\0',80);
	char res[20];

	sprintf(res,"px%.6f%s",px,",");
	strcat(sz_buff,res);
	sprintf(res,"py%.6f%s",py,",");
	strcat(sz_buff,res);
	sprintf(res,"th%.6f%s",th,",");
	strcat(sz_buff,res);
	sprintf(res,"vx%.6f%s",vx,",");
	strcat(sz_buff,res);
	sprintf(res,"vy%.6f%s",vy,",");
	strcat(sz_buff,res);
	sprintf(res,"wz%.6f%s",wz,"n");
	strcat(sz_buff,res);

	return sz_buff;
}

void setPower(float power_M1, float power_M2, float power_M3, float power_M4)
{
	M1_pwm = map(power_M1,min_speed,max_speed,min_pwm,max_pwm);
	M2_pwm = map(power_M2,min_speed,max_speed,min_pwm,max_pwm);
	M3_pwm = map(power_M3,min_speed,max_speed,min_pwm,max_pwm);
	M4_pwm = map(power_M4,min_speed,max_speed,min_pwm,max_pwm);

	__HAL_TIM_SET_COMPARE(&htim1, TIM_CHANNEL_1, M1_pwm);
	__HAL_TIM_SET_COMPARE(&htim1, TIM_CHANNEL_2, M2_pwm);
	__HAL_TIM_SET_COMPARE(&htim1, TIM_CHANNEL_3, M3_pwm);
	__HAL_TIM_SET_COMPARE(&htim1, TIM_CHANNEL_4, M4_pwm);

}
/* USER CODE END 4 */

void Error_Handler(void)
{
  __disable_irq();
  while (1)
  {
  }
}
